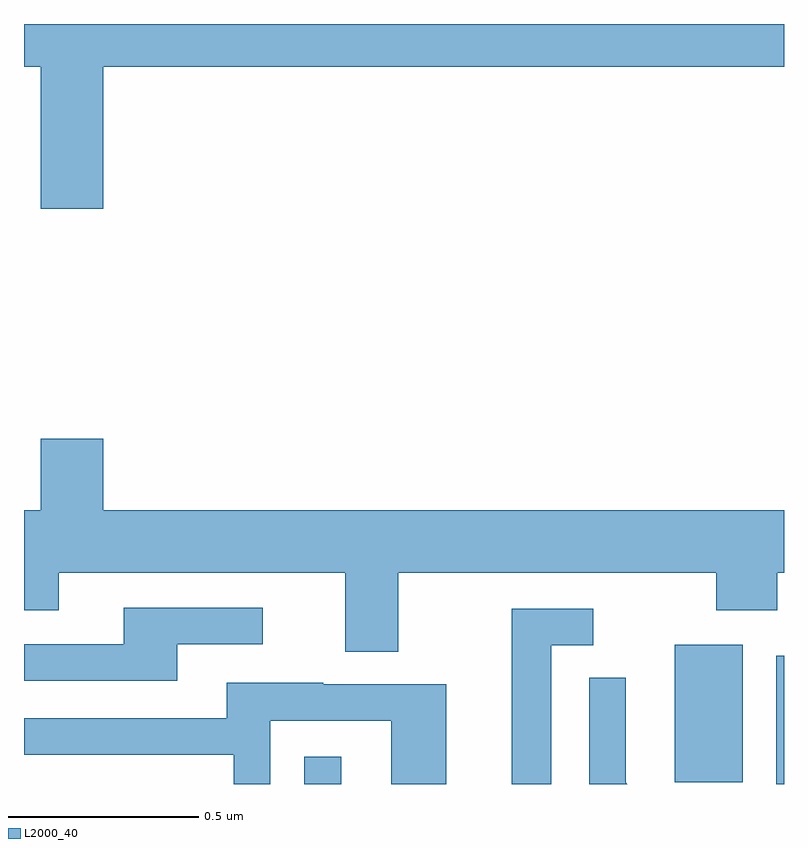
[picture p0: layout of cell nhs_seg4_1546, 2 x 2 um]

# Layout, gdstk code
import gdstk
lib = gdstk.Library(unit=1e-6, precision=1e-09)
def R(c, l, rs):  # rectangles x0, y0, x1, y1
    for r in rs: c.add(gdstk.rectangle(r[:2], r[2:], *l))
def P(c, l, *ps):  # polygons
    for p in ps: c.add(gdstk.Polygon(p, *l))
L2000_40 = (2000, 40)

nhs_seg4_1546 = lib.new_cell('nhs_seg4_1546')
R(nhs_seg4_1546, L2000_40, [(129.738,826.9,129.835,826.972), (130.98,826.9,131,827.238), (130.712,826.905,130.891,827.266)])
P(nhs_seg4_1546, L2000_40, [(129.208,828.788),(131,828.788),(131,828.9),(129,828.9),(129,828.788),(129.044,828.788),(129.044,828.414),(129.208,828.414)],
  [(129.985,827.456),(130.822,827.456),(130.822,827.357),(130.982,827.357),(130.982,827.456),(131,827.456),(131,827.62),(129.208,827.62),(129.208,827.809),(129.044,827.809),(129.044,827.62),(129,827.62),(129,827.357),(129.091,827.357),(129.091,827.456),(129.845,827.456),(129.845,827.248),(129.985,827.248)],
  [(129.403,827.268),(129.628,827.268),(129.628,827.364),(129.263,827.364),(129.263,827.268),(129,827.268),(129,827.172),(129.403,827.172)],
  [(130.387,827.265),(130.498,827.265),(130.498,827.361),(130.283,827.361),(130.283,826.9),(130.387,826.9)],
  [(130.583,826.904),(130.583,827.026),(130.584,827.026),(130.584,827.18),(130.488,827.18),(130.488,826.9),(130.587,826.9)],
  [(129.648,827.067),(129.966,827.067),(129.966,826.9),(130.111,826.9),(130.111,827.163),(129.787,827.163),(129.787,827.167),(129.533,827.167),(129.533,827.073),(129,827.073),(129,826.977),(129.552,826.977),(129.552,826.9),(129.648,826.9)])

lib.write_gds('nhs_seg4_1546.gds')
